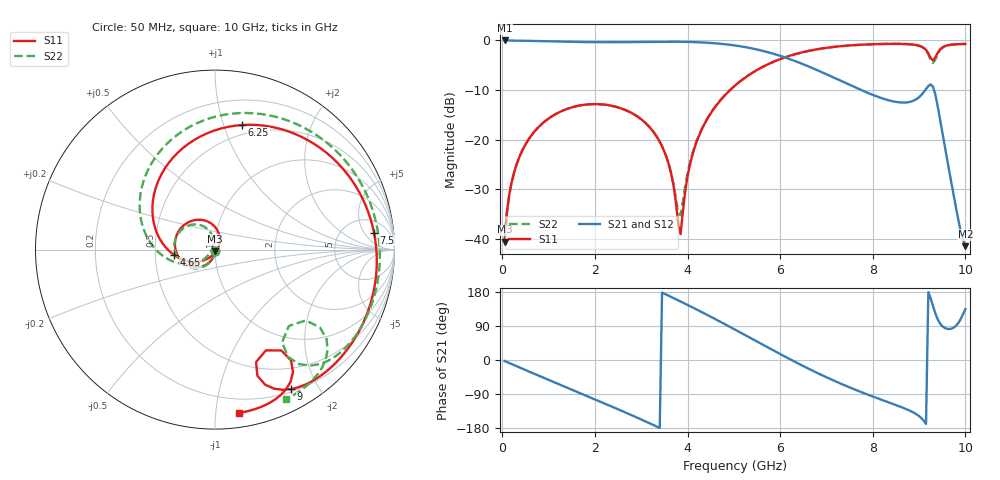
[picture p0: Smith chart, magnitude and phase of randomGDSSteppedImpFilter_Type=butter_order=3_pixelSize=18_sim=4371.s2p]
! freq	dB(S11)	phase(S11)	dB(S12)	phase(S12)
!  dB(S21)	phase(S21)	dB(S22)	phase(S22)
!S-par simulation data
#  GHz  S  DB  R 50
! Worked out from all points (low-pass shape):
!   200 points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, 50 MHz to 10 GHz, reference 50 ohm
!   highest |S21| = 0.00 dB at 50 MHz (marker M1); lowest = -41.5 dB at 10 GHz (marker M2)
!   |S21| within 3 dB of the highest: start of sweep to 5.966 GHz
!   lowest |S11| = -40.6 dB at 50 MHz (marker M3), VSWR 1.02, Z = 50 - j0.934 ohm
!   |S11| at or under -10 dB: start of sweep to 4.92 GHz
!   |S22| runs from -40.6 to -0.7 dB; largest |S21 - S12| = 0
!   S11 on the Smith chart (normalised r, x): 50 MHz: 1.00, -0.02; 4.65 GHz: 0.63, -0.04; 6.25 GHz: 0.41, +1.16; 7.5 GHz: 9, +9; 9 GHz: 0.23, -1.66; 10 GHz: 0.10, -1.15
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0.05  -40.58 -92.2  -0.00 -2.7  -0.00 -2.7  -40.59 -92.1
0.2  -28.67 -100.9  -0.02 -10.6  -0.02 -10.6  -28.66 -100.2
0.5  -20.98 -117.9  -0.07 -26.4  -0.07 -26.4  -20.97 -116.0
1.15  -14.85 -153.2  -0.22 -60.2  -0.22 -60.2  -14.85 -148.7
1.75  -12.99 174.5  -0.33 -91.1  -0.33 -91.1  -12.99 -178.3
2.5  -13.49 133.3  -0.35 -130.0  -0.35 -130.0  -13.50 145.3
3.4  -20.41 78.1  -0.27 -179.3  -0.27 -179.3  -20.43 104.1
3.65  -27.02 55.6  -0.26 166.2  -0.26 166.2  -26.88 101.9
3.85  -39.03 -50.4  -0.28 154.4  -0.28 154.4  -35.23 174.5
3.95  -30.39 -109.1  -0.29 148.4  -0.29 148.4  -29.37 -145.8
4.1  -23.26 -130.4  -0.33 139.3  -0.33 139.3  -22.94 -138.6
4.65  -12.76 -172.7  -0.62 104.7  -0.62 104.7  -12.69 -162.2
5.05  -8.91 159.3  -1.05 78.6  -1.05 78.6  -8.87 174.2
5.65  -5.20 117.7  -2.16 38.7  -2.16 38.7  -5.20 136.6
6.25  -2.97 77.7  -3.91 -0.4  -3.91 -0.4  -2.98 98.5
6.7  -1.94 49.8  -5.58 -28.2  -5.58 -28.2  -1.96 71.1
7.5  -1.00 6.1  -8.96 -72.3  -8.96 -72.3  -1.01 26.8
8.35  -0.69 -32.6  -12.08 -112.1  -12.08 -112.1  -0.69 -13.7
9  -1.06 -61.4  -11.43 -148.0  -11.43 -148.0  -1.08 -44.6
9.3  -4.03 -63.2  -9.32 143.0  -9.32 143.0  -4.56 -45.9
9.5  -1.43 -60.2  -18.49 89.4  -18.49 89.4  -1.51 -41.7
10  -0.72 -81.6  -41.47 134.3  -41.47 134.3  -0.69 -64.6
